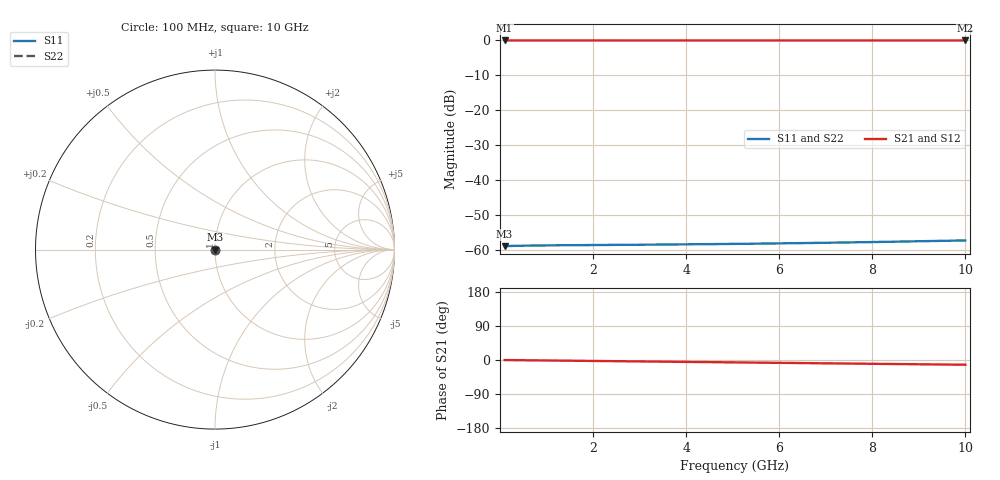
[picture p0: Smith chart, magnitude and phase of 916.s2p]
# Hz S RI R 50.00
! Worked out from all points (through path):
!   100 points, 100 MHz to 10 GHz, reference 50 ohm
!   highest |S21| = -0.01 dB at 100 MHz (marker M1); lowest = 0.0 dB at 10 GHz (marker M2)
!   group delay of S21, straight-line fit = 3.48 ps
!   lowest |S11| = -58.8 dB at 100 MHz (marker M3), VSWR 1.00, Z = 50.1 - j0.000796 ohm
!   |S11| at or under -10 dB: start of sweep to end of sweep
!   |S22| runs from -58.8 to -57.2 dB; largest |S21 - S12| = 0
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1e8  0.00114 -7.94e-06  0.9989 -0.00218  0.9989 -0.00218  0.00114 -7.94e-06
2e8  0.00115 -1.59e-05  0.9988 -0.00435  0.9988 -0.00435  0.00115 -1.59e-05
3e8  0.00115 -2.39e-05  0.9988 -0.00653  0.9988 -0.00653  0.00115 -2.39e-05
4e8  0.00116 -3.19e-05  0.9988 -0.00871  0.9988 -0.00871  0.00116 -3.19e-05
6e8  0.00116 -4.8e-05  0.9987 -0.0131  0.9987 -0.0131  0.00116 -4.8e-05
8e8  0.00117 -6.43e-05  0.9987 -0.0174  0.9987 -0.0174  0.00117 -6.43e-05
1.1e9  0.00117 -8.87e-05  0.9985 -0.0239  0.9985 -0.0239  0.00117 -8.87e-05
1.4e9  0.00117 -0.000113  0.9983 -0.0305  0.9983 -0.0305  0.00117 -0.000113
1.8e9  0.00117 -0.000147  0.998 -0.0392  0.998 -0.0392  0.00117 -0.000147
2.6e9  0.00117 -0.000215  0.9972 -0.0566  0.9972 -0.0566  0.00117 -0.000215
3.4e9  0.00117 -0.000285  0.996 -0.074  0.996 -0.074  0.00117 -0.000285
4.3e9  0.00116 -0.000366  0.9943 -0.0935  0.9943 -0.0935  0.00116 -0.000366
5.1e9  0.00115 -0.00044  0.9925 -0.1109  0.9925 -0.1109  0.00115 -0.00044
5.5e9  0.00115 -0.000478  0.9915 -0.1195  0.9915 -0.1195  0.00115 -0.000478
5.9e9  0.00114 -0.000516  0.9904 -0.1282  0.9904 -0.1282  0.00114 -0.000516
6.3e9  0.00113 -0.000555  0.9892 -0.1368  0.9892 -0.1368  0.00113 -0.000555
6.7e9  0.00112 -0.000593  0.988 -0.1455  0.988 -0.1455  0.00112 -0.000593
7.5e9  0.00111 -0.000672  0.9853 -0.1628  0.9853 -0.1628  0.00111 -0.000672
7.9e9  0.0011 -0.000712  0.9838 -0.1714  0.9838 -0.1714  0.0011 -0.000712
8.4e9  0.00108 -0.000761  0.9819 -0.1821  0.9819 -0.1821  0.00108 -0.000761
9.2e9  0.00106 -0.000841  0.9785 -0.1993  0.9785 -0.1993  0.00106 -0.000841
1e10  0.00103 -0.000921  0.9748 -0.2164  0.9748 -0.2164  0.00103 -0.000921
